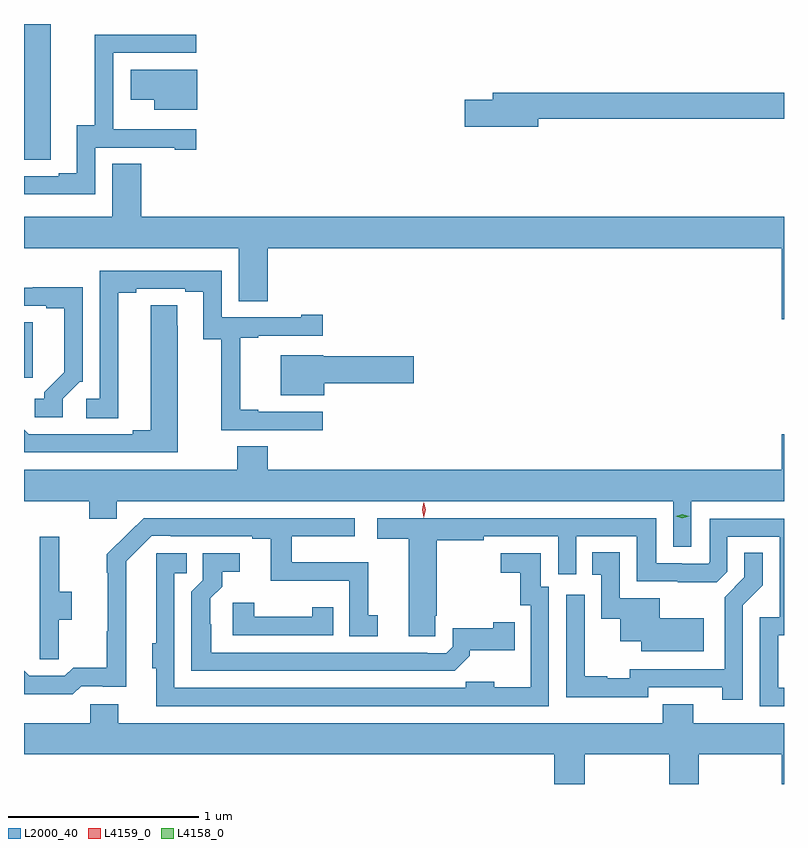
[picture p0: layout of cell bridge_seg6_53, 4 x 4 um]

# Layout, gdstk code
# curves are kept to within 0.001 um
import gdstk
lib = gdstk.Library(unit=1e-6, precision=1e-09)
def R(c, l, rs):  # rectangles x0, y0, x1, y1
    for r in rs: c.add(gdstk.rectangle(r[:2], r[2:], *l))
def P(c, l, *ps):  # polygons
    for p in ps: c.add(gdstk.Polygon(p, *l))
L2000_40 = (2000, 40)
L4158_0 = (4158, 0)
L4159_0 = (4159, 0)

bridge_seg6_53 = lib.new_cell('bridge_seg6_53')
R(bridge_seg6_53, L2000_40, [(1060.119,966.632,1060.165,966.926)])
P(bridge_seg6_53, L2000_40, [(1060.26,967.888),(1060.261,967.888),(1060.261,968.495),(1060.119,968.495),(1060.119,968.44),(1060.121,968.44),(1060.121,967.78),(1060.26,967.78)],
  [(1060.494,967.845),(1060.913,967.845),(1060.913,967.833),(1061.026,967.833),(1061.026,967.941),(1060.592,967.941),(1060.592,967.942),(1060.59,967.942),(1060.59,968.343),(1061.026,968.343),(1061.026,968.439),(1060.492,968.439),(1060.492,967.961),(1060.397,967.961),(1060.397,967.71),(1060.301,967.71),(1060.301,967.695),(1060.119,967.695),(1060.119,967.599),(1060.494,967.599)],
  [(1061.032,968.254),(1060.68,968.254),(1060.68,968.096),(1060.805,968.096),(1060.805,968.045),(1061.032,968.045)],
  [(1062.826,967.996),(1064.119,967.996),(1064.119,968.132),(1062.587,968.132),(1062.587,968.096),(1062.438,968.096),(1062.438,967.954),(1062.826,967.954)],
  [(1064.119,967.48),(1060.736,967.48),(1060.736,967.76),(1060.583,967.76),(1060.583,967.48),(1060.119,967.48),(1060.119,967.316),(1061.249,967.316),(1061.249,967.036),(1061.402,967.036),(1061.402,967.316),(1064.108,967.316),(1064.108,966.942),(1064.119,966.942)],
  [(1061.692,966.453),(1061.353,966.453),(1061.353,966.466),(1061.258,966.466),(1061.258,966.843),(1061.353,966.843),(1061.353,966.855),(1061.692,966.855),(1061.692,966.964),(1061.579,966.964),(1061.579,966.951),(1061.16,966.951),(1061.16,967.197),(1060.518,967.197),(1060.518,966.522),(1060.446,966.522),(1060.446,966.421),(1060.615,966.421),(1060.615,967.081),(1060.711,967.081),(1060.711,967.101),(1060.967,967.101),(1060.967,967.086),(1061.063,967.086),(1061.063,966.835),(1061.158,966.835),(1061.158,966.357),(1061.692,966.357)],
  [(1060.323,966.522),(1060.413,966.612),(1060.428,966.612),(1060.428,967.109),(1060.165,967.109),(1060.165,967.107),(1060.119,967.107),(1060.119,967.011),(1060.235,967.011),(1060.235,966.999),(1060.331,966.999),(1060.331,966.662),(1060.226,966.557),(1060.226,966.522),(1060.176,966.522),(1060.176,966.426),(1060.323,966.426)],
  [(1060.927,966.908),(1060.926,966.908),(1060.926,967.016),(1060.787,967.016),(1060.787,966.356),(1060.691,966.356),(1060.691,966.336),(1060.143,966.336),(1060.119,966.36),(1060.119,966.24),(1060.927,966.24)],
  [(1061.698,966.604),(1062.169,966.604),(1062.169,966.746),(1061.694,966.746),(1061.694,966.751),(1061.471,966.751),(1061.471,966.542),(1061.698,966.542)],
  [(1063.632,965.984),(1064.119,965.984),(1064.119,966.337),(1064.108,966.337),(1064.108,966.148),(1061.402,966.148),(1061.402,966.272),(1061.242,966.272),(1061.242,966.148),(1060.119,966.148),(1060.119,965.984),(1060.462,965.984),(1060.462,965.891),(1060.608,965.891),(1060.608,965.984),(1063.536,965.984),(1063.536,965.743),(1063.632,965.743)],
  [(1060.419,965.01),(1060.533,965.01),(1060.533,965.007),(1060.657,965.007),(1060.657,965.668),(1060.791,965.802),(1060.891,965.802),(1060.891,965.799),(1061.321,965.799),(1061.321,965.787),(1061.417,965.787),(1061.417,965.564),(1061.832,965.564),(1061.832,965.272),(1061.98,965.272),(1061.98,965.383),(1061.93,965.383),(1061.93,965.662),(1061.527,965.662),(1061.527,965.798),(1061.86,965.798),(1061.86,965.895),(1060.748,965.895),(1060.555,965.704),(1060.555,965.606),(1060.559,965.606),(1060.559,965.3),(1060.555,965.3),(1060.555,965.108),(1060.378,965.108),(1060.334,965.064),(1060.146,965.064),(1060.119,965.091),(1060.119,964.968),(1060.376,964.968)],
  [(1064.119,965.001),(1064.088,965.001),(1064.088,965.277),(1064.119,965.277),(1064.119,965.892),(1063.728,965.892),(1063.728,965.664),(1063.719,965.655),(1063.581,965.655),(1063.581,965.658),(1063.447,965.658),(1063.447,965.895),(1061.979,965.895),(1061.979,965.787),(1062.143,965.787),(1062.143,965.272),(1062.283,965.272),(1062.283,965.38),(1062.291,965.38),(1062.291,965.779),(1062.539,965.779),(1062.539,965.799),(1062.93,965.799),(1062.93,965.598),(1063.026,965.598),(1063.026,965.799),(1063.343,965.799),(1063.343,965.562),(1063.561,965.562),(1063.561,965.558),(1063.766,965.558),(1063.821,965.613),(1063.821,965.796),(1064.097,965.796),(1064.097,965.373),(1063.992,965.373),(1063.992,964.905),(1064.119,964.905)],
  [(1060.301,965.36),(1060.369,965.36),(1060.369,965.508),(1060.304,965.508),(1060.304,965.797),(1060.202,965.797),(1060.202,965.151),(1060.301,965.151)],
  [(1063.696,965.368),(1063.465,965.368),(1063.465,965.473),(1063.254,965.473),(1063.254,965.714),(1063.111,965.714),(1063.111,965.596),(1063.158,965.596),(1063.158,965.364),(1063.256,965.364),(1063.256,965.246),(1063.367,965.246),(1063.367,965.195),(1063.696,965.195)],
  [(1063.902,965.436),(1064.007,965.541),(1064.007,965.711),(1063.911,965.711),(1063.911,965.583),(1063.806,965.478),(1063.806,965.1),(1063.308,965.1),(1063.308,965.051),(1063.188,965.051),(1063.188,965.062),(1063.07,965.062),(1063.07,965.491),(1062.972,965.491),(1062.972,964.952),(1063.404,964.952),(1063.404,965.004),(1063.794,965.004),(1063.794,964.938),(1063.902,964.938)],
  [(1062.882,965.532),(1062.84,965.532),(1062.84,965.709),(1062.627,965.709),(1062.627,965.608),(1062.732,965.608),(1062.732,965.436),(1062.786,965.436),(1062.786,965.003),(1062.595,965.003),(1062.595,965.034),(1062.443,965.034),(1062.443,965.001),(1060.911,965.001),(1060.911,965.603),(1060.976,965.603),(1060.976,965.709),(1060.818,965.709),(1060.816,965.707),(1060.816,965.591),(1060.814,965.591),(1060.814,965.235),(1060.793,965.235),(1060.793,965.103),(1060.814,965.103),(1060.814,964.905),(1062.882,964.905)],
  [(1062.465,965.171),(1062.465,965.198),(1062.701,965.198),(1062.701,965.347),(1062.589,965.347),(1062.589,965.315),(1062.375,965.315),(1062.375,965.217),(1062.342,965.184),(1062.242,965.184),(1062.242,965.187),(1061.104,965.187),(1061.104,965.336),(1061.1,965.336),(1061.1,965.472),(1061.162,965.534),(1061.162,965.612),(1061.254,965.612),(1061.254,965.709),(1061.061,965.709),(1061.061,965.568),(1061,965.507),(1061,965.091),(1062.385,965.091)],
  [(1061.747,965.425),(1061.636,965.425),(1061.636,965.375),(1061.33,965.375),(1061.33,965.449),(1061.217,965.449),(1061.217,965.277),(1061.747,965.277)],
  [(1063.071,964.652),(1063.516,964.652),(1063.516,964.495),(1063.671,964.495),(1063.671,964.652),(1064.108,964.652),(1064.108,964.495),(1064.119,964.495),(1064.119,964.816),(1063.641,964.816),(1063.641,964.915),(1063.481,964.915),(1063.481,964.816),(1060.615,964.816),(1060.615,964.915),(1060.468,964.915),(1060.468,964.816),(1060.119,964.816),(1060.119,964.652),(1062.911,964.652),(1062.911,964.495),(1063.071,964.495)])
P(bridge_seg6_53, L4158_0, [(1063.584,965.894),(1063.549,965.903),(1063.548,965.903),(1063.549,965.904),(1063.584,965.914),(1063.62,965.904),(1063.62,965.904),(1063.62,965.904)])
P(bridge_seg6_53, L4159_0, [(1062.224,965.897),(1062.224,965.898),(1062.214,965.938),(1062.224,965.979),(1062.224,965.979),(1062.224,965.979),(1062.234,965.938),(1062.224,965.898)])

lib.write_gds('bridge_seg6_53.gds')
